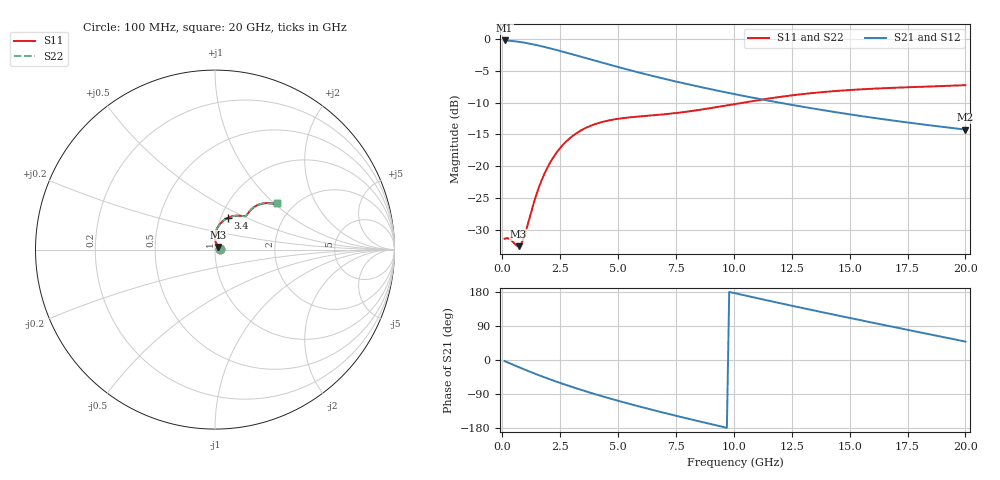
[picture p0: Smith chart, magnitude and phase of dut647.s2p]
! Touchstone file exported from HFSS 2024.1.0
!  File:  C:/UserFiles/LocalFiles/RDL_TSV_Batchsim/temp_RDL_TSV_647_1779808242.aedt
!  Generated:  11:29:14 PM May 26, 2026
!  Design:  RDL_TSV
!  Project:  temp_RDL_TSV_647_1779808242
!  Setup:  Setup1
!  Solution:  Sweep
! Variables:
!  dtsv = 13.06um
!  hbump = 3um
!  htsv = 89.47um
!  ldown = 631.35um
!  lrdl = 612.24um
!  p = 40
!  p1 = 49.1um
!  rhole = 10um
!  subl = 4343.01um
!  t = 450um
!  tdown = 3.89um
!  trdl = 3.9um
!  viad = 10um
!  wdown = 29.83um
!  wrdl = 10.38um
!  xbump = 18um
# GHz S MA R 50.000000
! Terminal data exported
! Port[1] = TM1_1_T1
! Port[2] = TM1_4_T1
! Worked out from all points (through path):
!   200 points, 100 MHz to 20 GHz, reference 50 ohm
!   highest |S21| = -0.24 dB at 100 MHz (marker M1); lowest = -14.2 dB at 20 GHz (marker M2)
!   group delay of S21, straight-line fit = 40.9 ps
!   lowest |S11| = -32.6 dB at 700 MHz (marker M3), VSWR 1.05, Z = 51.8 + j1.58 ohm
!   |S11| at or under -10 dB: start of sweep to 10.41 GHz
!   |S22| runs from -32.6 to -7.3 dB; largest |S21 - S12| = 1e-14
!   S11 on the Smith chart (normalised r, x): 100 MHz: 1.06, +0.01; 3.4 GHz: 1.08, +0.40; 20 GHz: 1.65, +1.05
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0.1  0.02694 5.0  0.9724 -2.7  0.9724 -2.7  0.02694 5.0
! Gamma 0 0 0 0
! Port Impedance 50 0 50 0
0.3  0.02695 12.6  0.9674 -8.1  0.9674 -8.1  0.02695 12.6
0.7  0.02352 40.3  0.95 -18.6  0.95 -18.6  0.02353 40.3
0.8  0.02423 51.6  0.9442 -21.1  0.9442 -21.1  0.02425 51.6
0.9  0.0264 62.6  0.938 -23.6  0.938 -23.6  0.02642 62.6
1.5  0.06194 89.6  0.8926 -38.3  0.8926 -38.3  0.06198 89.5
1.7  0.07758 89.6  0.8756 -42.9  0.8756 -42.9  0.07762 89.5
2  0.1015 87.0  0.849 -49.7  0.849 -49.7  0.1015 87.0
2.6  0.1458 78.9  0.7948 -62.7  0.7948 -62.7  0.1459 78.9
3.4  0.1911 67.9  0.7242 -78.7  0.7242 -78.7  0.1911 67.8
3.5  0.1955 66.6  0.7158 -80.7  0.7158 -80.7  0.1955 66.6
4.3  0.2222 58.2  0.6516 -95.4  0.6516 -95.4  0.2221 58.2
5.1  0.2371 52.5  0.5945 -109.3  0.5945 -109.3  0.2369 52.4
5.9  0.2457 49.2  0.5445 -122.4  0.5445 -122.4  0.2455 49.1
6.8  0.2538 47.6  0.4958 -136.5  0.4958 -136.5  0.2535 47.6
8.3  0.2733 47.8  0.4289 -158.9  0.4289 -158.9  0.2729 47.8
10.1  0.3093 47.8  0.3662 175.6  0.3662 175.6  0.309 47.8
11.7  0.3442 46.1  0.322 153.8  0.322 153.8  0.344 46.2
13.4  0.3755 43.3  0.2842 131.5  0.2842 131.5  0.3754 43.4
15  0.3966 40.6  0.2554 111.0  0.2554 111.0  0.3966 40.7
16.7  0.4116 38.4  0.2306 89.6  0.2306 89.6  0.4117 38.4
20  0.433 36.5  0.1939 48.6  0.1939 48.6  0.4332 36.5
